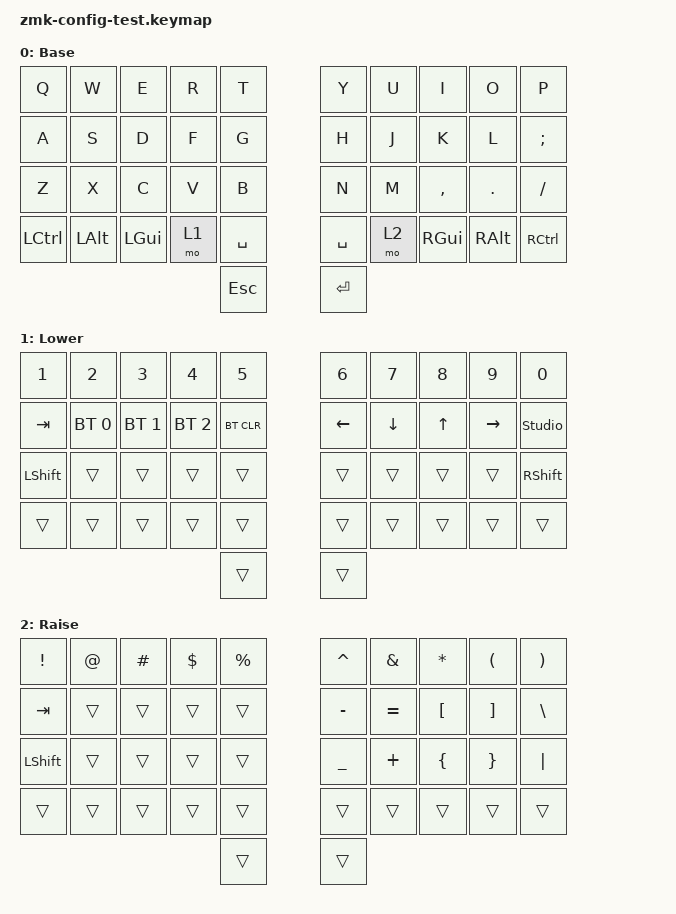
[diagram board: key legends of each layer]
#include <behaviors.dtsi>
#include <dt-bindings/zmk/keys.h>
#include <dt-bindings/zmk/bt.h>
#include <dt-bindings/zmk/studio.h>

/ {
    keymap {
        compatible = "zmk,keymap";

        default_layer {
            display-name = "Base";
            bindings = <
&kp Q &kp W &kp E &kp R &kp T           &kp Y &kp U &kp I &kp O &kp P
&kp A &kp S &kp D &kp F &kp G           &kp H &kp J &kp K &kp L &kp SEMI
&kp Z &kp X &kp C &kp V &kp B           &kp N &kp M &kp COMMA &kp DOT &kp FSLH
&kp LCTRL &kp LALT &kp LGUI &mo 1 &kp SPACE &kp SPACE &mo 2 &kp RGUI &kp RALT &kp RCTRL
            &kp ESC                     &kp ENTER
            >;
        };

        lower_layer {
            display-name = "Lower";
            bindings = <
&kp N1 &kp N2 &kp N3 &kp N4 &kp N5      &kp N6 &kp N7 &kp N8 &kp N9 &kp N0
&kp TAB &bt BT_SEL 0 &bt BT_SEL 1 &bt BT_SEL 2 &bt BT_CLR  &kp LEFT &kp DOWN &kp UP &kp RIGHT &studio_unlock
&kp LSHFT &trans &trans &trans &trans   &trans &trans &trans &trans &kp RSHFT
&trans &trans &trans &trans &trans      &trans &trans &trans &trans &trans
            &trans                      &trans
            >;
        };

        raise_layer {
            display-name = "Raise";
            bindings = <
&kp EXCL &kp AT &kp HASH &kp DLLR &kp PRCNT   &kp CARET &kp AMPS &kp STAR &kp LPAR &kp RPAR
&kp TAB &trans &trans &trans &trans          &kp MINUS &kp EQUAL &kp LBKT &kp RBKT &kp BSLH
&kp LSHFT &trans &trans &trans &trans        &kp UNDER &kp PLUS &kp LBRC &kp RBRC &kp PIPE
&trans &trans &trans &trans &trans           &trans &trans &trans &trans &trans
            &trans                           &trans
            >;
        };

        extra1 {
            display-name = "Extra1";
            status = "reserved";
            bindings = < /* all &trans */ >;
        };

        extra2 {
            display-name = "Extra2";
            status = "reserved";
            bindings = < /* all &trans */ >;
        };

        extra3 {
            display-name = "Extra3";
            status = "reserved";
            bindings = < /* all &trans */ >;
        };
    };
};
